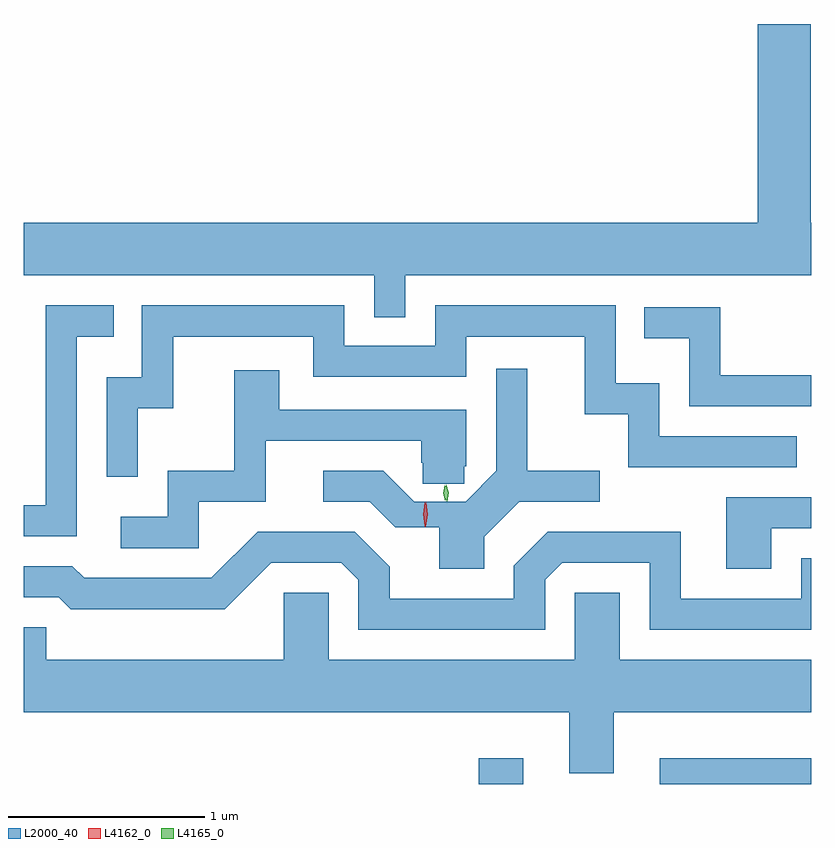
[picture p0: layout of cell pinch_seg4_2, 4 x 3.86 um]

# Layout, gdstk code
import gdstk
lib = gdstk.Library(unit=1e-6, precision=1e-09)
def R(c, l, rs):  # rectangles x0, y0, x1, y1
    for r in rs: c.add(gdstk.rectangle(r[:2], r[2:], *l))
def P(c, l, *ps):  # polygons
    for p in ps: c.add(gdstk.Polygon(p, *l))
L2000_40 = (2000, 40)
L4162_0 = (4162, 0)
L4165_0 = (4165, 0)

pinch_seg4_2 = lib.new_cell('pinch_seg4_2')
R(pinch_seg4_2, L2000_40, [(1864.041,1318.792,1864.269,1318.924), (1864.961,1318.792,1865.731,1318.924)])
P(pinch_seg4_2, L2000_40, [(1863.669,1321.376),(1865.731,1321.376),(1865.731,1321.644),(1865.729,1321.644),(1865.729,1322.654),(1865.461,1322.654),(1865.461,1321.644),(1861.731,1321.644),(1861.731,1321.376),(1863.511,1321.376),(1863.511,1321.163),(1863.669,1321.163)],
  [(1862.309,1320.701),(1862.489,1320.701),(1862.489,1321.066),(1863.201,1321.066),(1863.201,1320.861),(1863.979,1320.861),(1863.979,1321.066),(1864.581,1321.066),(1864.581,1320.671),(1864.801,1320.671),(1864.801,1320.401),(1865.658,1320.401),(1865.658,1320.559),(1864.959,1320.559),(1864.959,1320.829),(1864.739,1320.829),(1864.739,1321.224),(1863.821,1321.224),(1863.821,1321.019),(1863.359,1321.019),(1863.359,1321.224),(1862.331,1321.224),(1862.331,1320.859),(1862.151,1320.859),(1862.151,1320.353),(1862.309,1320.353)],
  [(1861.999,1321.066),(1862.188,1321.066),(1862.188,1321.224),(1861.841,1321.224),(1861.841,1320.209),(1861.731,1320.209),(1861.731,1320.051),(1861.999,1320.051)],
  [(1865.731,1320.869),(1865.269,1320.869),(1865.269,1321.214),(1864.883,1321.214),(1864.883,1321.056),(1865.111,1321.056),(1865.111,1320.711),(1865.731,1320.711)],
  [(1864.069,1320.049),(1864.247,1320.226),(1864.658,1320.226),(1864.658,1320.384),(1864.289,1320.384),(1864.289,1320.903),(1864.131,1320.903),(1864.131,1320.383),(1863.975,1320.226),(1863.715,1320.226),(1863.557,1320.384),(1863.253,1320.384),(1863.253,1320.226),(1863.489,1320.226),(1863.619,1320.096),(1863.841,1320.096),(1863.841,1319.886),(1864.069,1319.886)],
  [(1862.619,1320.226),(1862.959,1320.226),(1862.959,1320.536),(1863.751,1320.536),(1863.751,1320.424),(1863.757,1320.424),(1863.757,1320.317),(1863.968,1320.317),(1863.968,1320.407),(1863.978,1320.407),(1863.978,1320.694),(1863.029,1320.694),(1863.029,1320.894),(1862.801,1320.894),(1862.801,1320.384),(1862.461,1320.384),(1862.461,1320.149),(1862.223,1320.149),(1862.223,1319.991),(1862.619,1319.991)],
  [(1865.529,1320.091),(1865.731,1320.091),(1865.731,1320.249),(1865.301,1320.249),(1865.301,1319.886),(1865.529,1319.886)],
  [(1864.379,1319.829),(1864.467,1319.916),(1864.911,1319.916),(1864.911,1319.576),(1865.731,1319.576),(1865.731,1319.939),(1865.681,1319.939),(1865.681,1319.734),(1865.069,1319.734),(1865.069,1320.074),(1864.394,1320.074),(1864.221,1319.902),(1864.221,1319.734),(1863.589,1319.734),(1863.589,1319.897),(1863.412,1320.074),(1862.919,1320.074),(1862.684,1319.839),(1862.037,1319.839),(1861.977,1319.899),(1861.731,1319.899),(1861.731,1319.741),(1861.909,1319.741),(1861.969,1319.681),(1862.752,1319.681),(1862.987,1319.916),(1863.344,1319.916),(1863.431,1319.829),(1863.431,1319.576),(1864.379,1319.576)],
  [(1864.729,1319.156),(1865.731,1319.156),(1865.731,1319.424),(1864.759,1319.424),(1864.759,1319.764),(1864.531,1319.764),(1864.531,1319.424),(1863.279,1319.424),(1863.279,1319.764),(1863.051,1319.764),(1863.051,1319.424),(1861.844,1319.424),(1861.844,1319.589),(1861.731,1319.589),(1861.731,1319.156),(1864.501,1319.156),(1864.501,1318.846),(1864.729,1318.846)])
P(pinch_seg4_2, L4162_0, [(1863.771,1320.098),(1863.764,1320.162),(1863.775,1320.225),(1863.776,1320.226),(1863.776,1320.225),(1863.784,1320.161),(1863.772,1320.098),(1863.772,1320.098)],
  [(1863.769,1320.101),(1863.769,1320.102),(1863.759,1320.162),(1863.769,1320.222),(1863.769,1320.223),(1863.77,1320.222),(1863.779,1320.162),(1863.77,1320.102)])
P(pinch_seg4_2, L4165_0, [(1863.881,1320.229),(1863.88,1320.23),(1863.869,1320.271),(1863.877,1320.312),(1863.878,1320.313),(1863.878,1320.312),(1863.889,1320.271),(1863.881,1320.23)],
  [(1863.872,1320.231),(1863.872,1320.232),(1863.861,1320.27),(1863.869,1320.31),(1863.87,1320.31),(1863.87,1320.31),(1863.881,1320.271),(1863.873,1320.232)])

lib.write_gds('pinch_seg4_2.gds')
